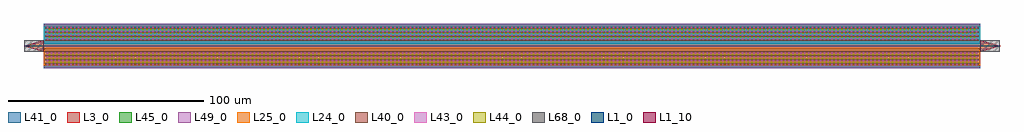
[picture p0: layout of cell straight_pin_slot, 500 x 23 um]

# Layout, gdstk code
from math import pi, radians
import gdstk
lib = gdstk.Library(unit=1e-6, precision=1e-09)
def R(c, l, rs):  # rectangles x0, y0, x1, y1
    for r in rs: c.add(gdstk.rectangle(r[:2], r[2:], *l))
def P(c, l, *ps):  # polygons
    for p in ps: c.add(gdstk.Polygon(p, *l))
L1_0 = (1, 0)
L1_10 = (1, 10)
L3_0 = (3, 0)
L24_0 = (24, 0)
L25_0 = (25, 0)
L40_0 = (40, 0)
L41_0 = (41, 0)
L43_0 = (43, 0)
L44_0 = (44, 0)
L45_0 = (45, 0)
L49_0 = (49, 0)
L68_0 = (68, 0)

straight_16551504 = lib.new_cell('straight_16551504')
R(straight_16551504, L1_0, [(0,-0.25,480,0.25)])
R(straight_16551504, L3_0, [(0,-10,480,10)])
R(straight_16551504, L24_0, [(0,0.8,480,9.8)])
R(straight_16551504, L25_0, [(0,-9.8,480,-0.8)])
R(straight_16551504, L68_0, [(0,-0.25,480,0.25)])
straight_16551504.add(gdstk.FlexPath([(0.001,0),(-0.001,0)], 0.5, ends="flush", simple_path=True, layer=1, datatype=10))  # L1_10
straight_16551504.add(gdstk.FlexPath([(479.999,0),(480.001,0)], 0.5, ends="flush", simple_path=True, layer=1, datatype=10))  # L1_10
straight_16551504.add(gdstk.Label('o1', (0,0), layer=1, texttype=10))
straight_16551504.add(gdstk.Label('o2', (480,0), layer=1, texttype=10))

taper_strip_to_ridge = lib.new_cell('taper_strip_to_ridge')
R(taper_strip_to_ridge, L1_0, [(0,-0.25,10,0.25)])
P(taper_strip_to_ridge, L3_0, [(0,0.075),(10,3),(10,-3),(0,-0.075)])
R(taper_strip_to_ridge, L68_0, [(0,-3,10,3)])
taper_strip_to_ridge.add(gdstk.FlexPath([(0.001,0),(-0.001,0)], 0.5, ends="flush", simple_path=True, layer=1, datatype=10))  # L1_10
taper_strip_to_ridge.add(gdstk.FlexPath([(9.999,0),(10.001,0)], 6, ends="flush", simple_path=True, layer=1, datatype=10))  # L1_10
taper_strip_to_ridge.add(gdstk.Label('o1', (0,0), layer=1, texttype=10))
taper_strip_to_ridge.add(gdstk.Label('o2', (10,0), layer=1, texttype=10))
taper_strip_to_ridge.add(gdstk.Label('o1', (0,0), layer=1, texttype=10))
taper_strip_to_ridge.add(gdstk.Label('o2', (10,0), layer=1, texttype=10))
taper_strip_to_ridge.add(gdstk.Label('o1', (0,0), layer=1, texttype=10))
taper_strip_to_ridge.add(gdstk.Label('o2', (10,0), layer=1, texttype=10))

compass_054240bf = lib.new_cell('compass_054240bf')
R(compass_054240bf, L41_0, [(-240,-5,240,5)])

compass_2d7056ba = lib.new_cell('compass_2d7056ba')
R(compass_2d7056ba, L45_0, [(-240,-5,240,5)])

compass_82fc8092 = lib.new_cell('compass_82fc8092')
R(compass_82fc8092, L49_0, [(-240,-5,240,5)])

via_enclosure2_layervia1 = lib.new_cell('via_enclosure2_layerVIA1')
R(via_enclosure2_layervia1, L44_0, [(-0.35,-0.35,0.35,0.35)])

via_layervia2 = lib.new_cell('via_layerVIA2')
R(via_layervia2, L43_0, [(-0.35,-0.35,0.35,0.35)])

via_stack_ee7da5fa = lib.new_cell('via_stack_ee7da5fa')
via_stack_ee7da5fa.add(gdstk.Reference(compass_054240bf, (0,0)))
via_stack_ee7da5fa.add(gdstk.Reference(compass_2d7056ba, (0,0)))
via_stack_ee7da5fa.add(gdstk.Reference(compass_82fc8092, (0,0)))
r = gdstk.Reference(via_enclosure2_layervia1, (-237,-2)); r.repetition = gdstk.Repetition(238, 3, v1=(2,0), v2=(0,2)); via_stack_ee7da5fa.add(r)
r = gdstk.Reference(via_layervia2, (-238,-3)); r.repetition = gdstk.Repetition(239, 4, v1=(2,0), v2=(0,2)); via_stack_ee7da5fa.add(r)

compass_layerm1_size480p = lib.new_cell('compass_layerM1_size480p0__10p0')
R(compass_layerm1_size480p, L41_0, [(-240,-5,240,5)])

via_size478p0__0p5 = lib.new_cell('via_size478p0__0p5')
R(via_size478p0__0p5, L40_0, [(-239,-0.25,239,0.25)])

via_stack_slot_8245f324 = lib.new_cell('via_stack_slot_8245f324')
via_stack_slot_8245f324.add(gdstk.Reference(compass_layerm1_size480p, (0,0)))
r = gdstk.Reference(via_size478p0__0p5, (0,-3)); r.repetition = gdstk.Repetition(1, 4, v1=(1,0), v2=(0,2)); via_stack_slot_8245f324.add(r)

straight_pin_slot = lib.new_cell('straight_pin_slot')
straight_pin_slot.add(gdstk.Reference(straight_16551504, (0,0)))
straight_pin_slot.add(gdstk.Reference(taper_strip_to_ridge, (-10,0)))
straight_pin_slot.add(gdstk.Reference(taper_strip_to_ridge, (490,0), rotation=pi))
straight_pin_slot.add(gdstk.Reference(via_stack_ee7da5fa, (240,6.5)))
straight_pin_slot.add(gdstk.Reference(via_stack_ee7da5fa, (240,-6.5)))
straight_pin_slot.add(gdstk.Reference(via_stack_slot_8245f324, (240,6)))
straight_pin_slot.add(gdstk.Reference(via_stack_slot_8245f324, (240,-6)))

lib.write_gds('straight_pin_slot.gds')
